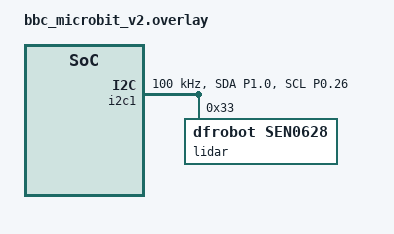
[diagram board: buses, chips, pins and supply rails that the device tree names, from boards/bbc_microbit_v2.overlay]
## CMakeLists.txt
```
# SPDX-License-Identifier: Apache-2.0
#
# Mapper Application - Autonomous exploration with occupancy grid mapping

cmake_minimum_required(VERSION 3.20.0)

# Path to parent zephyr-app directory
set(ZEPHYR_APP_ROOT ${CMAKE_CURRENT_SOURCE_DIR}/../..)

# Add local DTS bindings
list(APPEND DTS_ROOT ${ZEPHYR_APP_ROOT})

# Add extra Kconfig directories (must be before find_package)
set(KCONFIG_ROOT ${ZEPHYR_APP_ROOT}/Kconfig)

find_package(Zephyr REQUIRED HINTS $ENV{ZEPHYR_BASE})
project(mapper)

# Include paths
target_include_directories(app PRIVATE
    ${ZEPHYR_APP_ROOT}/src
    ${ZEPHYR_APP_ROOT}/drivers/sen0628
)

# Application sources
target_sources(app PRIVATE
    src/main.c
)

# Shared modules from ../../src
target_sources(app PRIVATE
    ${ZEPHYR_APP_ROOT}/src/maqueen.c
    ${ZEPHYR_APP_ROOT}/src/pid_control.c
    ${ZEPHYR_APP_ROOT}/src/odometry.c
    ${ZEPHYR_APP_ROOT}/src/occupancy_grid.c
    ${ZEPHYR_APP_ROOT}/src/scanner_360.c
    ${ZEPHYR_APP_ROOT}/src/frontier_nav.c
    ${ZEPHYR_APP_ROOT}/src/map_storage.c
    ${ZEPHYR_APP_ROOT}/src/map_shell.c
)

# SEN0628 LIDAR driver
target_sources(app PRIVATE
    ${ZEPHYR_APP_ROOT}/drivers/sen0628/sen0628.c
)
```

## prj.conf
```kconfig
# SPDX-License-Identifier: Apache-2.0
#
# Mapper Application Configuration

# ==================== Core ====================
CONFIG_I2C=y
CONFIG_GPIO=y

# ==================== Logging ====================
CONFIG_LOG=y
CONFIG_LOG_DEFAULT_LEVEL=3
CONFIG_LOG_MODE_IMMEDIATE=y
CONFIG_LOG_BUFFER_SIZE=2048

# ==================== Console/Shell ====================
CONFIG_CONSOLE=y
CONFIG_UART_CONSOLE=y
CONFIG_SERIAL=y
CONFIG_PRINTK=y

CONFIG_SHELL=y
CONFIG_SHELL_BACKEND_SERIAL=y
CONFIG_SHELL_LOG_LEVEL_INF=y
CONFIG_SHELL_PROMPT_UART="mapper> "

# Shell buffer sizes
CONFIG_SHELL_ARGC_MAX=10
CONFIG_SHELL_CMD_BUFF_SIZE=256

# ==================== NVS Storage ====================
CONFIG_NVS=y
CONFIG_FLASH=y
CONFIG_FLASH_MAP=y
CONFIG_FLASH_PAGE_LAYOUT=y
CONFIG_MPU_ALLOW_FLASH_WRITE=y

# ==================== CRC ====================
CONFIG_CRC=y

# ==================== SEN0628 LIDAR ====================
CONFIG_SEN0628=y
CONFIG_SEN0628_LOG_LEVEL=3
CONFIG_SEN0628_DEFAULT_MODE=4
CONFIG_SEN0628_READ_DELAY_MS=10
CONFIG_SEN0628_MODE_SETTLE_MS=5000

# ==================== Timers ====================
CONFIG_SYS_CLOCK_TICKS_PER_SEC=1000

# ==================== Memory ====================
CONFIG_MAIN_STACK_SIZE=4096
CONFIG_SYSTEM_WORKQUEUE_STACK_SIZE=2048
CONFIG_HEAP_MEM_POOL_SIZE=8192

# ==================== Thread Names (debug) ====================
CONFIG_THREAD_NAME=y

# ==================== LED Display ====================
CONFIG_DISPLAY=y
CONFIG_MICROBIT_DISPLAY=y
```

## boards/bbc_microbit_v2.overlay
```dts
/*
 * Device tree overlay for Mapper application
 *
 * Uses the default storage partition (24KB at 0x7a000)
 * Configures I2C1 on edge connector for external sensors
 * Defines SEN0628 LIDAR device
 *
 * SPDX-License-Identifier: Apache-2.0
 */

#include <zephyr/dt-bindings/i2c/i2c.h>

/*
 * I2C1 on edge connector for external sensors
 * P19 = SCL (P0.26)
 * P20 = SDA (P1.00)
 */
&pinctrl {
    i2c1_default: i2c1_default {
        group1 {
            psels = <NRF_PSEL(TWIM_SDA, 1, 0)>,
                    <NRF_PSEL(TWIM_SCL, 0, 26)>;
        };
    };

    i2c1_sleep: i2c1_sleep {
        group1 {
            psels = <NRF_PSEL(TWIM_SDA, 1, 0)>,
                    <NRF_PSEL(TWIM_SCL, 0, 26)>;
            low-power-enable;
        };
    };
};

/ {
    aliases {
        lidar = &lidar;
        i2c-ext = &i2c1;
    };
};

&i2c1 {
    compatible = "nordic,nrf-twim";
    status = "okay";
    pinctrl-0 = <&i2c1_default>;
    pinctrl-1 = <&i2c1_sleep>;
    pinctrl-names = "default", "sleep";
    clock-frequency = <I2C_BITRATE_STANDARD>;

    /* SEN0628 8x8 ToF LIDAR at 0x33 */
    lidar: sen0628@33 {
        compatible = "dfrobot,sen0628";
        reg = <0x33>;
        initial-mode = <4>;  /* 4x4 mode for faster scans */
    };
};
```

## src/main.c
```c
/*
 * Copyright (c) 2026 Léandre's Maqueen Project
 * SPDX-License-Identifier: Apache-2.0
 *
 * Mapper Application - Autonomous exploration with occupancy grid mapping
 *
 * Button A: Start/Pause exploration
 * Button B: Save map and export via shell
 * Shell: map show/export/save/load/stats/clear
 */

#include <zephyr/kernel.h>
#include <zephyr/device.h>
#include <zephyr/drivers/gpio.h>
#include <zephyr/drivers/i2c.h>
#include <zephyr/drivers/display.h>
#include <zephyr/logging/log.h>
#include <stdlib.h>
#include <string.h>

#include "maqueen.h"
#include "odometry.h"
#include "sen0628.h"
#include "occupancy_grid.h"
#include "scanner_360.h"
#include "frontier_nav.h"
#include "map_storage.h"

LOG_MODULE_REGISTER(mapper, LOG_LEVEL_INF);

/* ==================== Hardware Configuration ==================== */

/* I2C device for external sensors (edge connector) */
#define I2C_NODE DT_NODELABEL(i2c1)

/* LIDAR device */
#define LIDAR_NODE DT_NODELABEL(lidar)

/* Buttons */
#define BTN_A_NODE DT_ALIAS(sw0)
#define BTN_B_NODE DT_ALIAS(sw1)

#if !DT_NODE_HAS_STATUS(BTN_A_NODE, okay) || !DT_NODE_HAS_STATUS(BTN_B_NODE, okay)
#error "Button nodes not properly defined"
#endif

static const struct gpio_dt_spec btn_a = GPIO_DT_SPEC_GET(BTN_A_NODE, gpios);
static const struct gpio_dt_spec btn_b = GPIO_DT_SPEC_GET(BTN_B_NODE, gpios);

/* LED Display */
static const struct device *display_dev;

/* 5x5 LED patterns (1 bit per LED, row by row) */
static const uint8_t icon_ready[] = {    /* Checkmark */
    0b00000,
    0b00001,
    0b00010,
    0b10100,
    0b01000,
};

static const uint8_t icon_scanning[] __unused = {  /* Rotating dot positions */
    0b00100,
    0b00000,
    0b00000,
    0b00000,
    0b00000,
};

static const uint8_t icon_exploring[] = { /* Arrow up */
    0b00100,
    0b01110,
    0b10101,
    0b00100,
    0b00100,
};

static const uint8_t icon_paused[] = {    /* Pause bars */
    0b01010,
    0b01010,
    0b01010,
    0b01010,
    0b01010,
};

static const uint8_t icon_error[] = {     /* X */
    0b10001,
    0b01010,
    0b00100,
    0b01010,
    0b10001,
};

static const uint8_t icon_need_calib[] = { /* ? for press A to calibrate */
    0b01110,
    0b10001,
    0b00010,
    0b00100,
    0b00100,
};

static const uint8_t icon_calibrating[] = { /* Rotating C */
    0b01110,
    0b10000,
    0b10000,
    0b10000,
    0b01110,
};

/* ==================== Application State ==================== */

/* State machine */
enum mapper_state {
    STATE_INIT,
    STATE_IDLE,
    STATE_NEED_CALIBRATION,
    STATE_CALIBRATING,
    STATE_SCANNING,
    STATE_EXPLORING,
    STATE_PAUSED,
    STATE_ERROR
};

static const char *state_names[] __unused = {
    "INIT", "IDLE", "NEED_CALIB", "CALIBRATING", "SCANNING", "EXPLORING", "PAUSED", "ERROR"
};

/* Global state */
static struct {
    enum mapper_state state;
    const struct device *i2c_dev;
    const struct device *lidar_dev;

    /* Mapping components */
    struct occupancy_grid grid;
    struct odometry odom;
    struct scanner_360 scanner;

    /* Exploration parameters */
    int explore_speed;
    int explore_loop_ms;
    uint32_t loop_count;

    /* Button state */
    bool btn_a_pressed;
    bool btn_b_pressed;
} ctx;

/* Shell interface - global pointers for map_shell.c */
struct occupancy_grid *map_shell_grid = NULL;
struct odometry *map_shell_odom = NULL;
const struct device *map_shell_i2c = NULL;

/* ==================== LED Display ==================== */

static void display_icon(const uint8_t *icon)
{
    if (!display_dev) {
        return;
    }

    /* Micro:bit display buffer: 5 rows, each row is 1 byte (5 bits used) */
    uint8_t buf[5];
    for (int i = 0; i < 5; i++) {
        buf[i] = icon[i];
    }

    struct display_buffer_descriptor desc = {
        .buf_size = sizeof(buf),
        .width = 5,
        .height = 5,
        .pitch = 8,  /* bits per row (padded to byte) */
    };

    display_write(display_dev, 0, 0, &desc, buf);
}

static void __unused led_clear(void)
{
    if (!display_dev) {
        return;
    }

    uint8_t buf[5] = {0};
    struct display_buffer_descriptor desc = {
        .buf_size = sizeof(buf),
        .width = 5,
        .height = 5,
        .pitch = 8,
    };

    display_write(display_dev, 0, 0, &desc, buf);
}

static void display_scanning_animation(int position)
{
    if (!display_dev) {
        return;
    }

    /* Rotating dot around the edge */
    uint8_t buf[5] = {0};
    int pos = position % 16;

    if (pos < 5) {
        buf[0] = 1 << (4 - pos);      /* Top row, left to right */
    } else if (pos < 9) {
        buf[pos - 4] = 0b00001;       /* Right column, top to bottom */
    } else if (pos < 13) {
        buf[4] = 1 << (pos - 8);      /* Bottom row, right to left */
    } else {
        buf[16 - pos] = 0b10000;      /* Left column, bottom to top */
    }

    struct display_buffer_descriptor desc = {
        .buf_size = sizeof(buf),
        .width = 5,
        .height = 5,
        .pitch = 8,
    };

    display_write(display_dev, 0, 0, &desc, buf);
}

/* ==================== Button Handling ==================== */

static bool btn_initialized = false;
static bool btn_a_last = false;
static bool btn_b_last = false;

static void check_buttons(void)
{
    bool btn_a_now = gpio_pin_get_dt(&btn_a) == 0;  /* Active low */
    bool btn_b_now = gpio_pin_get_dt(&btn_b) == 0;

    /* On first call, just initialize last state (no events) */
    if (!btn_initialized) {
        btn_a_last = btn_a_now;
        btn_b_last = btn_b_now;
        btn_initialized = true;
        return;
    }

    /* Detect rising edge (press) */
    if (btn_a_now && !btn_a_last) {
        ctx.btn_a_pressed = true;
    }
    if (btn_b_now && !btn_b_last) {
        ctx.btn_b_pressed = true;
    }

    btn_a_last = btn_a_now;
    btn_b_last = btn_b_now;
}

/* ==================== Exploration Logic ==================== */

static void explore_step(void)
{
    struct sen0628_columns cols;
    struct sen0628_scan scan;
    struct frontier_result frontier;
    int ret;

    /* Update odometry */
    odometry_update(&ctx.odom);

    /* Read LIDAR */
    ret = sen0628_read_scan(ctx.lidar_dev, &scan);
    if (ret < 0) {
        LOG_WRN("LIDAR scan failed: %d", ret);
    }

    ret = sen0628_get_columns(ctx.lidar_dev, &cols);
    if (ret < 0) {
        LOG_ERR("Failed to get columns: %d", ret);
        maqueen_stop_all(ctx.i2c_dev);
        return;
    }

    /* Update grid */
    grid_update_from_lidar(&ctx.grid, &cols, &ctx.odom);

    /* Get robot position in grid */
    int rx, ry;
    grid_world_to_cell(&ctx.grid, ctx.odom.x, ctx.odom.y, &rx, &ry);
    int heading_deg = ctx.odom.heading_mdeg / 1000;

    /* Find best frontier direction */
    ret = frontier_find_best(&ctx.grid, rx, ry, heading_deg, &frontier);

    /* Check if exploration complete */
    if (frontier.exploration_complete ||
        frontier_is_complete(&ctx.grid, NAV_DEFAULT_COMPLETE_THRESHOLD)) {
        LOG_INF("Exploration complete!");
        maqueen_stop_all(ctx.i2c_dev);
        map_storage_save(&ctx.grid, &ctx.odom);
        ctx.state = STATE_IDLE;
        return;
    }

    /* Navigate */
    int center_dist = (cols.min[3] + cols.min[4]) / 2;
    int current_dir = frontier_angle_to_dir(heading_deg);
    int turn_diff = frontier_dir_diff(current_dir, frontier.direction);

    /* Obstacle avoidance priority */
    if (center_dist < 150) {
        /* Too close - back up and turn */
        LOG_DBG("Obstacle close (%dmm), backing up", center_dist);
        maqueen_motor_set(ctx.i2c_dev, MAQUEEN_MOTOR_LEFT,
                          MAQUEEN_DIR_REVERSE, 80);
        maqueen_motor_set(ctx.i2c_dev, MAQUEEN_MOTOR_RIGHT,
                          MAQUEEN_DIR_REVERSE, 80);
        odometry_set_direction(&ctx.odom, false, false);
        k_sleep(K_MSEC(300));

        /* Turn toward clear direction */
        if (turn_diff >= 0) {
            maqueen_motor_set(ctx.i2c_dev, MAQUEEN_MOTOR_LEFT,
                              MAQUEEN_DIR_REVERSE, 80);
            maqueen_motor_set(ctx.i2c_dev, MAQUEEN_MOTOR_RIGHT,
                              MAQUEEN_DIR_FORWARD, 80);
            odometry_set_direction(&ctx.odom, false, true);
        } else {
            maqueen_motor_set(ctx.i2c_dev, MAQUEEN_MOTOR_LEFT,
                              MAQUEEN_DIR_FORWARD, 80);
            maqueen_motor_set(ctx.i2c_dev, MAQUEEN_MOTOR_RIGHT,
                              MAQUEEN_DIR_REVERSE, 80);
            odometry_set_direction(&ctx.odom, true, false);
        }
        k_sleep(K_MSEC(200));
    }
    else if (abs(turn_diff) > 1) {
        /* Need significant turn */
        int speed_fast = ctx.explore_speed;
        int speed_slow = ctx.explore_speed * 60 / 100;

        if (turn_diff > 0) {
            /* Turn right */
            maqueen_motor_set(ctx.i2c_dev, MAQUEEN_MOTOR_LEFT,
                              MAQUEEN_DIR_FORWARD, speed_fast);
            maqueen_motor_set(ctx.i2c_dev, MAQUEEN_MOTOR_RIGHT,
                              MAQUEEN_DIR_FORWARD, speed_slow);
        } else {
            /* Turn left */
            maqueen_motor_set(ctx.i2c_dev, MAQUEEN_MOTOR_LEFT,
                              MAQUEEN_DIR_FORWARD, speed_slow);
            maqueen_motor_set(ctx.i2c_dev, MAQUEEN_MOTOR_RIGHT,
                              MAQUEEN_DIR_FORWARD, speed_fast);
        }
        odometry_set_direction(&ctx.odom, true, true);
    }
    else {
        /* Go straight toward frontier */
        int speed = (center_dist > 500) ? ctx.explore_speed :
                    ctx.explore_speed * 70 / 100;
        maqueen_motor_set(ctx.i2c_dev, MAQUEEN_MOTOR_LEFT,
                          MAQUEEN_DIR_FORWARD, speed);
        maqueen_motor_set(ctx.i2c_dev, MAQUEEN_MOTOR_RIGHT,
                          MAQUEEN_DIR_FORWARD, speed);
        odometry_set_direction(&ctx.odom, true, true);
    }

    ctx.loop_count++;

    /* Periodic status */
    if (ctx.loop_count % 50 == 0) {
        struct grid_stats stats;
        grid_get_stats(&ctx.grid, &stats);
        LOG_INF("Exploring: pos=(%d,%d) head=%d° unknown=%d",
                (int)ctx.odom.x, (int)ctx.odom.y, heading_deg,
                stats.unknown_count);
    }
}

/* ==================== Scan Progress Callback ==================== */

static void scan_progress(int position, int total, void *user_data)
{
    ARG_UNUSED(user_data);
    LOG_INF("Scan progress: %d/%d", position + 1, total);
    display_scanning_animation(position);
}

static bool scan_abort_check(void *user_data)
{
    ARG_UNUSED(user_data);
    /* Check button A or B for abort */
    check_buttons();
    return ctx.btn_a_pressed || ctx.btn_b_pressed;
}

/* ==================== State Machine ==================== */

static void handle_state(void)
{
    switch (ctx.state) {
    case STATE_NEED_CALIBRATION:
        /* Button A: Start calibration */
        if (ctx.btn_a_pressed) {
            ctx.btn_a_pressed = false;
            LOG_INF("Starting calibration...");
            display_icon(icon_calibrating);
            ctx.state = STATE_CALIBRATING;
        }
        break;

    case STATE_CALIBRATING:
        {
            int ret = scanner_calibrate_rotation(&ctx.scanner,
                                                  scan_abort_check, NULL);
            if (ret == -ECANCELED) {
                LOG_INF("Calibration aborted");
                ctx.btn_a_pressed = false;
                ctx.btn_b_pressed = false;
                maqueen_stop_all(ctx.i2c_dev);
                display_icon(icon_need_calib);
                ctx.state = STATE_NEED_CALIBRATION;
            } else if (ret < 0) {
                LOG_ERR("Calibration failed: %d", ret);
                display_icon(icon_error);
                ctx.state = STATE_ERROR;
            } else {
                /* Save calibration to NVS */
                map_storage_save_calibration(
                    ctx.scanner.turn_speed,
                    ctx.scanner.ms_per_degree);
                LOG_INF("Calibration complete. Press A to start scan.");
                display_icon(icon_ready);
                ctx.state = STATE_IDLE;
            }
        }
        break;

    case STATE_IDLE:
        /* Button A: Start exploration */
        if (ctx.btn_a_pressed) {
            ctx.btn_a_pressed = false;
            LOG_INF("Starting 360° scan...");
            ctx.state = STATE_SCANNING;
            /* Animation will be shown in scan_progress callback */
        }
        /* Button B: Save and export map */
        if (ctx.btn_b_pressed) {
            ctx.btn_b_pressed = false;
            LOG_INF("Saving map...");
            map_storage_save(&ctx.grid, &ctx.odom);
            LOG_INF("Map saved. Use 'map export' to view.");
        }
        break;

    case STATE_SCANNING:
        {
            struct scan_result result;
            int ret = scanner_full_scan(&ctx.scanner, scan_progress,
                                        scan_abort_check, NULL, &result);
            if (ret == -ECANCELED) {
                LOG_INF("Scan aborted");
                ctx.btn_a_pressed = false;
                ctx.btn_b_pressed = false;
                maqueen_stop_all(ctx.i2c_dev);
                ctx.state = STATE_IDLE;
                display_icon(icon_ready);
            } else if (ret < 0) {
                LOG_ERR("Scan failed: %d", ret);
                ctx.state = STATE_ERROR;
                display_icon(icon_error);
            } else {
                LOG_INF("Scan complete: %d obstacles in %dms",
                        result.obstacles_detected, result.duration_ms);
                ctx.state = STATE_EXPLORING;
                display_icon(icon_exploring);
                LOG_INF("Starting exploration...");
            }
        }
        break;

    case STATE_EXPLORING:
        /* Button A: Pause */
        if (ctx.btn_a_pressed) {
            ctx.btn_a_pressed = false;
            maqueen_stop_all(ctx.i2c_dev);
            ctx.state = STATE_PAUSED;
            display_icon(icon_paused);
            LOG_INF("Paused");
            break;
        }
        /* Button B: Emergency stop and return to IDLE */
        if (ctx.btn_b_pressed) {
            ctx.btn_b_pressed = false;
            maqueen_stop_all(ctx.i2c_dev);
            map_storage_save(&ctx.grid, &ctx.odom);
            ctx.state = STATE_IDLE;
            display_icon(icon_ready);
            LOG_INF("Emergency stop - map saved");
            break;
        }
        /* Exploration step */
        explore_step();
        break;

    case STATE_PAUSED:
        /* Button A: Resume exploration */
        if (ctx.btn_a_pressed) {
            ctx.btn_a_pressed = false;
            ctx.state = STATE_EXPLORING;
            display_icon(icon_exploring);
            LOG_INF("Resumed");
        }
        /* Button B: Save, stop, return to IDLE */
        if (ctx.btn_b_pressed) {
            ctx.btn_b_pressed = false;
            map_storage_save(&ctx.grid, &ctx.odom);
            ctx.state = STATE_IDLE;
            display_icon(icon_ready);
            LOG_INF("Map saved - returned to IDLE");
        }
        break;

    case STATE_ERROR:
        /* Button A: Try to recover */
        if (ctx.btn_a_pressed) {
            ctx.btn_a_pressed = false;
            maqueen_stop_all(ctx.i2c_dev);
            ctx.state = STATE_IDLE;
            display_icon(icon_ready);
            LOG_INF("Reset to IDLE");
        }
        break;

    default:
        break;
    }
}

/* ==================== Initialization ==================== */

static int init_hardware(void)
{
    int ret;

    /* LED Display */
    display_dev = DEVICE_DT_GET(DT_CHOSEN(zephyr_display));
    if (!device_is_ready(display_dev)) {
        LOG_WRN("Display not ready, continuing without LED feedback");
        display_dev = NULL;
    } else {
        display_blanking_off(display_dev);
        display_icon(icon_ready);  /* Show ready icon immediately */
    }

    /* I2C device (for Maqueen) */
    ctx.i2c_dev = DEVICE_DT_GET(I2C_NODE);
    if (!device_is_ready(ctx.i2c_dev)) {
        LOG_ERR("I2C device not ready");
        display_icon(icon_error);
        return -ENODEV;
    }

    /* LIDAR device (from device tree) */
    ctx.lidar_dev = DEVICE_DT_GET(LIDAR_NODE);
    if (!device_is_ready(ctx.lidar_dev)) {
        LOG_ERR("LIDAR device not ready");
        return -ENODEV;
    }

    /* Buttons (active low with pull-up) */
    ret = gpio_pin_configure_dt(&btn_a, GPIO_INPUT | GPIO_PULL_UP);
    if (ret < 0) {
        LOG_ERR("Failed to configure button A: %d", ret);
        return ret;
    }

    ret = gpio_pin_configure_dt(&btn_b, GPIO_INPUT | GPIO_PULL_UP);
    if (ret < 0) {
        LOG_ERR("Failed to configure button B: %d", ret);
        return ret;
    }

    /* Maqueen motor controller */
    ret = maqueen_init(ctx.i2c_dev);
    if (ret < 0) {
        LOG_ERR("Maqueen init failed: %d", ret);
        return ret;
    }

    /* SEN0628 LIDAR - initialize */
    ret = sen0628_init(ctx.lidar_dev);
    if (ret < 0) {
        LOG_ERR("SEN0628 init failed: %d", ret);
        return ret;
    }

    /* Set LIDAR to 4x4 mode for faster scans */
    ret = sen0628_set_mode(ctx.lidar_dev, 4);
    if (ret < 0) {
        LOG_WRN("Failed to set LIDAR mode: %d", ret);
    }

    LOG_INF("Hardware initialized");
    return 0;
}

static int init_mapping(void)
{
    int ret;

    /* Initialize grid */
    grid_init(&ctx.grid);

    /* Initialize odometry */
    odometry_init(&ctx.odom, ctx.i2c_dev);

    /* Initialize scanner */
    ret = scanner_init(&ctx.scanner, ctx.i2c_dev, ctx.lidar_dev, &ctx.grid, &ctx.odom);
    if (ret < 0) {
        LOG_ERR("Scanner init failed: %d", ret);
        return ret;
    }

    /* Initialize storage */
    ret = map_storage_init();
    if (ret < 0) {
        LOG_WRN("Storage init failed: %d (continuing without persistence)", ret);
    }

    /* Try to load calibration data */
    if (map_storage_calibration_exists()) {
        uint16_t turn_speed, ms_per_deg;
        ret = map_storage_load_calibration(&turn_speed, &ms_per_deg);
        if (ret == 0) {
            scanner_set_rotation_params(&ctx.scanner, turn_speed, ms_per_deg);
            LOG_INF("Loaded calibration: speed=%d, ms/deg=%d", turn_speed, ms_per_deg);
        }
    }

    /* Try to load existing map */
    if (map_storage_exists()) {
        ret = map_storage_load(&ctx.grid, &ctx.odom);
        if (ret == 0) {
            LOG_INF("Loaded saved map");
        }
    }

    /* Set up shell interface */
    map_shell_grid = &ctx.grid;
    map_shell_odom = &ctx.odom;
    map_shell_i2c = ctx.i2c_dev;

    /* Exploration parameters */
    ctx.explore_speed = 100;
    ctx.explore_loop_ms = 100;

    LOG_INF("Mapping initialized");
    return 0;
}

/* ==================== Main ==================== */

int main(void)
{
    int ret;

    LOG_INF("=== Mapper Application ===");
    LOG_INF("Button A: Start/Pause exploration");
    LOG_INF("Button B: Save map");
    LOG_INF("Shell: 'map' for commands");

    ctx.state = STATE_INIT;

    /* Initialize hardware */
    ret = init_hardware();
    if (ret < 0) {
        LOG_ERR("Hardware init failed");
        ctx.state = STATE_ERROR;
        return ret;
    }

    /* Initialize mapping */
    ret = init_mapping();
    if (ret < 0) {
        LOG_ERR("Mapping init failed");
        ctx.state = STATE_ERROR;
        return ret;
    }

    /* Check if calibration is needed */
    if (map_storage_calibration_exists()) {
        ctx.state = STATE_IDLE;
        display_icon(icon_ready);
        LOG_INF("Ready - Press button A to start");
    } else {
        ctx.state = STATE_NEED_CALIBRATION;
        display_icon(icon_need_calib);
        LOG_INF("Calibration needed - Press button A to calibrate");
    }

    /* Main loop */
    while (1) {
        check_buttons();
        handle_state();

        /* Loop timing based on state */
        int delay_ms;
        switch (ctx.state) {
        case STATE_EXPLORING:
            delay_ms = ctx.explore_loop_ms;
            break;
        case STATE_SCANNING:
            delay_ms = 10;  /* Fast polling during scan */
            break;
        default:
            delay_ms = 100;  /* Idle polling */
            break;
        }

        k_sleep(K_MSEC(delay_ms));
    }

    return 0;
}
```
